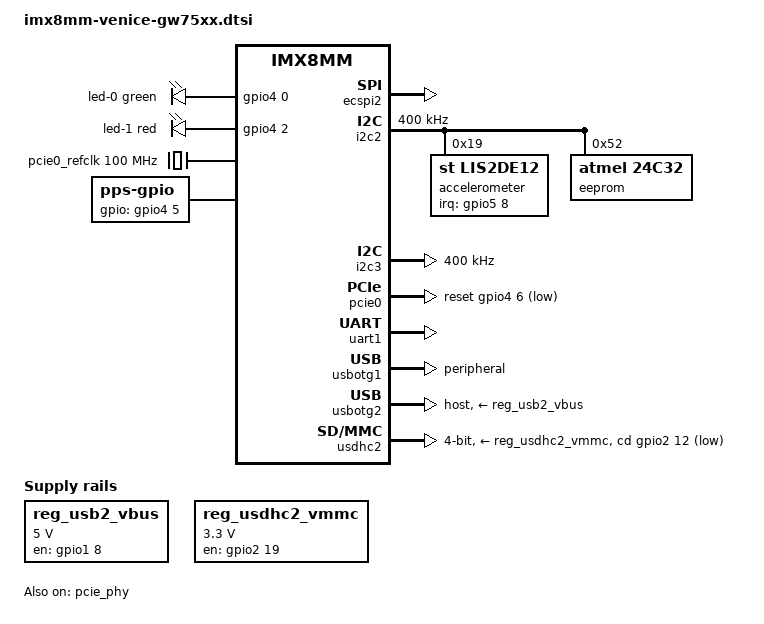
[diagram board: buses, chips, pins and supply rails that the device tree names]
// SPDX-License-Identifier: (GPL-2.0+ OR MIT)
/*
 * Copyright 2023 Gateworks Corporation
 */

#include <dt-bindings/gpio/gpio.h>
#include <dt-bindings/leds/common.h>
#include <dt-bindings/phy/phy-imx8-pcie.h>

/ {
	led-controller {
		compatible = "gpio-leds";
		pinctrl-names = "default";
		pinctrl-0 = <&pinctrl_gpio_leds>;

		led-0 {
			function = LED_FUNCTION_STATUS;
			color = <LED_COLOR_ID_GREEN>;
			gpios = <&gpio4 0 GPIO_ACTIVE_HIGH>;
			default-state = "on";
			linux,default-trigger = "heartbeat";
		};

		led-1 {
			function = LED_FUNCTION_STATUS;
			color = <LED_COLOR_ID_RED>;
			gpios = <&gpio4 2 GPIO_ACTIVE_HIGH>;
			default-state = "off";
		};
	};

	pcie0_refclk: clock-pcie0 {
		compatible = "fixed-clock";
		#clock-cells = <0>;
		clock-frequency = <100000000>;
	};

	pps {
		compatible = "pps-gpio";
		pinctrl-names = "default";
		pinctrl-0 = <&pinctrl_pps>;
		gpios = <&gpio4 5 GPIO_ACTIVE_HIGH>;
		status = "okay";
	};

	reg_usb2_vbus: regulator-usb2-vbus {
		compatible = "regulator-fixed";
		pinctrl-names = "default";
		pinctrl-0 = <&pinctrl_reg_usb2_en>;
		regulator-name = "usb2_vbus";
		gpio = <&gpio1 8 GPIO_ACTIVE_HIGH>;
		enable-active-high;
		regulator-min-microvolt = <5000000>;
		regulator-max-microvolt = <5000000>;
	};

	reg_usdhc2_vmmc: regulator-usdhc2 {
		compatible = "regulator-fixed";
		pinctrl-names = "default";
		pinctrl-0 = <&pinctrl_reg_usdhc2_vmmc>;
		regulator-name = "SD2_3P3V";
		regulator-min-microvolt = <3300000>;
		regulator-max-microvolt = <3300000>;
		gpio = <&gpio2 19 GPIO_ACTIVE_HIGH>;
		enable-active-high;
	};
};

/* off-board header */
&ecspi2 {
	pinctrl-names = "default";
	pinctrl-0 = <&pinctrl_spi2>;
	cs-gpios = <&gpio5 13 GPIO_ACTIVE_LOW>;
	status = "okay";
};

&gpio1 {
	gpio-line-names =
		"", "", "", "",
		"", "", "", "",
		"", "", "", "",
		"", "gpioa", "gpiob", "",
		"", "", "", "",
		"", "", "", "",
		"", "", "", "",
		"", "", "", "";
};

&gpio4 {
	gpio-line-names =
		"", "", "", "pci_usb_sel",
		"", "", "", "pci_wdis#",
		"", "", "", "",
		"", "", "", "",
		"", "", "", "",
		"", "", "", "",
		"", "", "", "",
		"", "", "", "";
};

&gpio5 {
	gpio-line-names =
		"", "", "", "",
		"gpioc", "gpiod", "", "",
		"", "", "", "",
		"", "", "", "",
		"", "", "", "",
		"", "", "", "",
		"", "", "", "",
		"", "", "", "";
};

&i2c2 {
	clock-frequency = <400000>;
	pinctrl-names = "default";
	pinctrl-0 = <&pinctrl_i2c2>;
	status = "okay";

	accelerometer@19 {
		compatible = "st,lis2de12";
		reg = <0x19>;
		pinctrl-names = "default";
		pinctrl-0 = <&pinctrl_accel>;
		interrupt-parent = <&gpio5>;
		interrupts = <8 IRQ_TYPE_LEVEL_LOW>;
		st,drdy-int-pin = <1>;
	};

	eeprom@52 {
		compatible = "atmel,24c32";
		reg = <0x52>;
		pagesize = <32>;
	};
};

/* off-board header */
&i2c3 {
	clock-frequency = <400000>;
	pinctrl-names = "default";
	pinctrl-0 = <&pinctrl_i2c3>;
	status = "okay";
};

&pcie_phy {
	fsl,refclk-pad-mode = <IMX8_PCIE_REFCLK_PAD_INPUT>;
	fsl,clkreq-unsupported;
	clocks = <&pcie0_refclk>;
	clock-names = "ref";
	status = "okay";
};

&pcie0 {
	pinctrl-names = "default";
	pinctrl-0 = <&pinctrl_pcie0>;
	reset-gpio = <&gpio4 6 GPIO_ACTIVE_LOW>;
	status = "okay";
};

/* GPS */
&uart1 {
	pinctrl-names = "default";
	pinctrl-0 = <&pinctrl_uart1>;
	status = "okay";
};

/* USB1 - Type C front panel SINK port J14 */
&usbotg1 {
	dr_mode = "peripheral";
	status = "okay";
};

/* USB2 4-port USB3.0 HUB:
 *  P1 - USBC connector (host only)
 *  P2 - USB2 test connector
 *  P3 - miniPCIe full card
 *  P4 - miniPCIe half card
 */
&usbotg2 {
	dr_mode = "host";
	vbus-supply = <&reg_usb2_vbus>;
	status = "okay";
};

/* microSD */
&usdhc2 {
	pinctrl-names = "default", "state_100mhz", "state_200mhz";
	pinctrl-0 = <&pinctrl_usdhc2>, <&pinctrl_usdhc2_gpio>;
	pinctrl-1 = <&pinctrl_usdhc2_100mhz>, <&pinctrl_usdhc2_gpio>;
	pinctrl-2 = <&pinctrl_usdhc2_200mhz>, <&pinctrl_usdhc2_gpio>;
	cd-gpios = <&gpio2 12 GPIO_ACTIVE_LOW>;
	vmmc-supply = <&reg_usdhc2_vmmc>;
	bus-width = <4>;
	status = "okay";
};

&iomuxc {
	pinctrl-names = "default";
	pinctrl-0 = <&pinctrl_hog>;

	pinctrl_hog: hoggrp {
		fsl,pins = <
			MX8MM_IOMUXC_GPIO1_IO13_GPIO1_IO13	0x40000040 /* GPIOA */
			MX8MM_IOMUXC_GPIO1_IO14_GPIO1_IO14	0x40000040 /* GPIOB */
			MX8MM_IOMUXC_SAI1_RXD1_GPIO4_IO3	0x40000106 /* PCI_USBSEL */
			MX8MM_IOMUXC_SAI1_RXD5_GPIO4_IO7	0x40000106 /* PCIE_WDIS# */
			MX8MM_IOMUXC_SPDIF_EXT_CLK_GPIO5_IO5	0x40000040 /* GPIOD */
			MX8MM_IOMUXC_SPDIF_RX_GPIO5_IO4		0x40000040 /* GPIOC */
		>;
	};

	pinctrl_accel: accelgrp {
		fsl,pins = <
			MX8MM_IOMUXC_ECSPI1_MISO_GPIO5_IO8	0x159
		>;
	};

	pinctrl_gpio_leds: gpioledgrp {
		fsl,pins = <
			MX8MM_IOMUXC_SAI1_RXFS_GPIO4_IO0	0x6	/* LEDG */
			MX8MM_IOMUXC_SAI1_RXD0_GPIO4_IO2	0x6	/* LEDR */
		>;
	};

	pinctrl_i2c2: i2c2grp {
		fsl,pins = <
			MX8MM_IOMUXC_I2C2_SCL_I2C2_SCL		0x400001c2
			MX8MM_IOMUXC_I2C2_SDA_I2C2_SDA		0x400001c2
		>;
	};

	pinctrl_i2c3: i2c3grp {
		fsl,pins = <
			MX8MM_IOMUXC_I2C3_SCL_I2C3_SCL		0x400001c2
			MX8MM_IOMUXC_I2C3_SDA_I2C3_SDA		0x400001c2
		>;
	};

	pinctrl_pcie0: pciegrp {
		fsl,pins = <
			MX8MM_IOMUXC_SAI1_RXD4_GPIO4_IO6	0x106
		>;
	};

	pinctrl_pps: ppsgrp {
		fsl,pins = <
			MX8MM_IOMUXC_SAI1_RXD3_GPIO4_IO5	0x106
		>;
	};

	pinctrl_reg_usb2_en: regusb2grp {
		fsl,pins = <
			MX8MM_IOMUXC_GPIO1_IO08_GPIO1_IO8	0x6	/* USBHUB_RST# (ext p/u) */
		>;
	};

	pinctrl_reg_usdhc2_vmmc: regusdhc2vmmcgrp {
		fsl,pins = <
			MX8MM_IOMUXC_SD2_RESET_B_GPIO2_IO19	0x40
		>;
	};

	pinctrl_spi2: spi2grp {
		fsl,pins = <
			MX8MM_IOMUXC_ECSPI2_SCLK_ECSPI2_SCLK	0x140
			MX8MM_IOMUXC_ECSPI2_MOSI_ECSPI2_MOSI	0x140
			MX8MM_IOMUXC_ECSPI2_MISO_ECSPI2_MISO	0x140
			MX8MM_IOMUXC_ECSPI2_SS0_GPIO5_IO13	0x140
		>;
	};

	pinctrl_uart1: uart1grp {
		fsl,pins = <
			MX8MM_IOMUXC_UART1_RXD_UART1_DCE_RX	0x140
			MX8MM_IOMUXC_UART1_TXD_UART1_DCE_TX	0x140
		>;
	};

	pinctrl_usdhc2: usdhc2grp {
		fsl,pins = <
			MX8MM_IOMUXC_SD2_CLK_USDHC2_CLK		0x190
			MX8MM_IOMUXC_SD2_CMD_USDHC2_CMD		0x1d0
			MX8MM_IOMUXC_SD2_DATA0_USDHC2_DATA0	0x1d0
			MX8MM_IOMUXC_SD2_DATA1_USDHC2_DATA1	0x1d0
			MX8MM_IOMUXC_SD2_DATA2_USDHC2_DATA2	0x1d0
			MX8MM_IOMUXC_SD2_DATA3_USDHC2_DATA3	0x1d0
			MX8MM_IOMUXC_GPIO1_IO04_USDHC2_VSELECT	0xc0
		>;
	};

	pinctrl_usdhc2_100mhz: usdhc2-100mhzgrp {
		fsl,pins = <
			MX8MM_IOMUXC_SD2_CLK_USDHC2_CLK		0x194
			MX8MM_IOMUXC_SD2_CMD_USDHC2_CMD		0x1d4
			MX8MM_IOMUXC_SD2_DATA0_USDHC2_DATA0	0x1d4
			MX8MM_IOMUXC_SD2_DATA1_USDHC2_DATA1	0x1d4
			MX8MM_IOMUXC_SD2_DATA2_USDHC2_DATA2	0x1d4
			MX8MM_IOMUXC_SD2_DATA3_USDHC2_DATA3	0x1d4
			MX8MM_IOMUXC_GPIO1_IO04_USDHC2_VSELECT	0xc0
		>;
	};

	pinctrl_usdhc2_200mhz: usdhc2-200mhzgrp {
		fsl,pins = <
			MX8MM_IOMUXC_SD2_CLK_USDHC2_CLK		0x196
			MX8MM_IOMUXC_SD2_CMD_USDHC2_CMD		0x1d6
			MX8MM_IOMUXC_SD2_DATA0_USDHC2_DATA0	0x1d6
			MX8MM_IOMUXC_SD2_DATA1_USDHC2_DATA1	0x1d6
			MX8MM_IOMUXC_SD2_DATA2_USDHC2_DATA2	0x1d6
			MX8MM_IOMUXC_SD2_DATA3_USDHC2_DATA3	0x1d6
			MX8MM_IOMUXC_GPIO1_IO04_USDHC2_VSELECT	0xc0
		>;
	};

	pinctrl_usdhc2_gpio: usdhc2gpiogrp {
		fsl,pins = <
			MX8MM_IOMUXC_SD2_CD_B_GPIO2_IO12	0x1c4
		>;
	};
};
